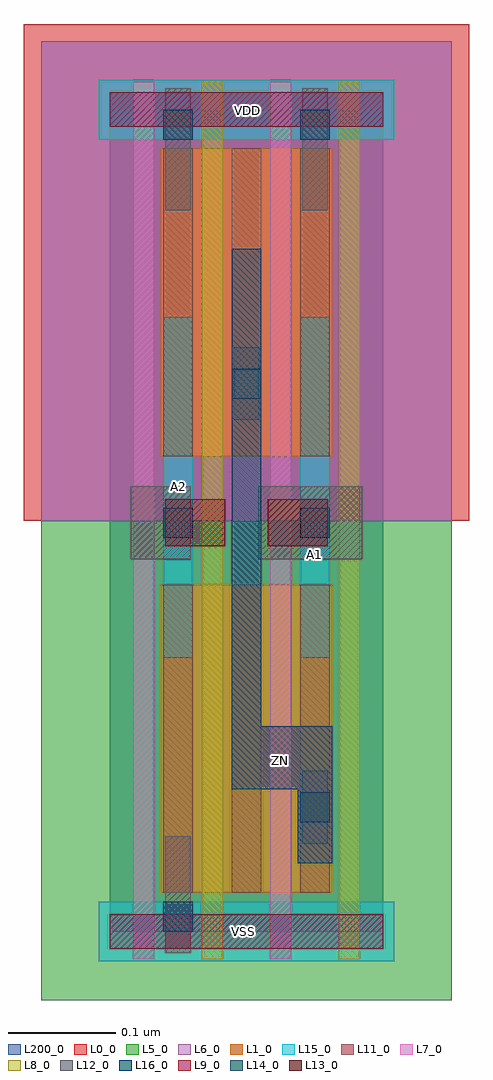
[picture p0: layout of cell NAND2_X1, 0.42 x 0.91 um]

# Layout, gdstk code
import gdstk
lib = gdstk.Library(unit=1e-6, precision=1e-09)
def R(c, l, rs):  # rectangles x0, y0, x1, y1
    for r in rs: c.add(gdstk.rectangle(r[:2], r[2:], *l))
def A(c, l, x, y, w, h, nx, ny, dx, dy):  # array of equal rectangles
    R(c, l, [(x+i*dx, y+j*dy, x+i*dx+w, y+j*dy+h) for i in range(nx) for j in range(ny)])
def P(c, l, *ps):  # polygons
    for p in ps: c.add(gdstk.Polygon(p, *l))
L0_0 = (0, 0)
L1_0 = (1, 0)
L5_0 = (5, 0)
L6_0 = (6, 0)
L7_0 = (7, 0)
L8_0 = (8, 0)
L9_0 = (9, 0)
L11_0 = (11, 0)
L12_0 = (12, 0)
L13_0 = (13, 0)
L14_0 = (14, 0)
L15_0 = (15, 0)
L16_0 = (16, 0)
L200_0 = (200, 0)

nand2_x1 = lib.new_cell('NAND2_X1')
R(nand2_x1, L0_0, [(-0.08,0.384,0.336,0.848)])
R(nand2_x1, L1_0, [(0.048,0.036,0.208,0.324), (0.048,0.444,0.208,0.732)])
R(nand2_x1, L5_0, [(-0.064,-0.064,0.32,0.384)])
R(nand2_x1, L6_0, [(-0.064,0.384,0.32,0.832)])
R(nand2_x1, L7_0, [(0.022,-0.026,0.042,0.794), (0.15,-0.026,0.17,0.794)])
R(nand2_x1, L8_0, [(0.086,-0.026,0.106,0.794), (0.214,-0.026,0.234,0.794)])
R(nand2_x1, L9_0, [(0,-0.016,0.256,0.016), (0,0.752,0.256,0.784)])
A(nand2_x1, L11_0, 0.05, 0.036, 0.028, 0.288, 3, 2, 0.064, 0.408)
R(nand2_x1, L12_0, [(0.052,-0.02,0.076,0.089), (0.18,0.082,0.204,0.15), (0.02,0.348,0.076,0.416), (0.139,0.348,0.236,0.416), (0.116,0.478,0.14,0.546), (0.052,0.674,0.076,0.788), (0.18,0.674,0.204,0.788)])
R(nand2_x1, L13_0, [(0.052,0.36,0.108,0.404), (0.148,0.36,0.204,0.404)])
R(nand2_x1, L14_0, [(0.05,0,0.078,0.028), (0.178,0.102,0.206,0.13), (0.05,0.368,0.078,0.396), (0.178,0.368,0.206,0.396), (0.114,0.498,0.142,0.526), (0.05,0.74,0.078,0.768), (0.178,0.74,0.206,0.768)])
R(nand2_x1, L15_0, [(-0.01,-0.028,0.266,0.028), (0.05,0.256,0.078,0.574), (0.178,0.256,0.206,0.574), (-0.01,0.74,0.266,0.796)])
P(nand2_x1, L16_0, [(0.114,0.133),(0.176,0.133),(0.176,0.064),(0.208,0.064),(0.208,0.192),(0.142,0.192),(0.142,0.638),(0.114,0.638)])
R(nand2_x1, L200_0, [(0,0,0.256,0.768)])
nand2_x1.add(gdstk.Label('VSS', (0.125,0), layer=15, texttype=20))
nand2_x1.add(gdstk.Label('A2', (0.064,0.416), layer=15, texttype=20))
nand2_x1.add(gdstk.Label('A1', (0.192,0.352), layer=15, texttype=20))
nand2_x1.add(gdstk.Label('VDD', (0.129,0.767), layer=15, texttype=20))
nand2_x1.add(gdstk.Label('ZN', (0.16,0.16), layer=16, texttype=20))

lib.write_gds('NAND2_X1.gds')
